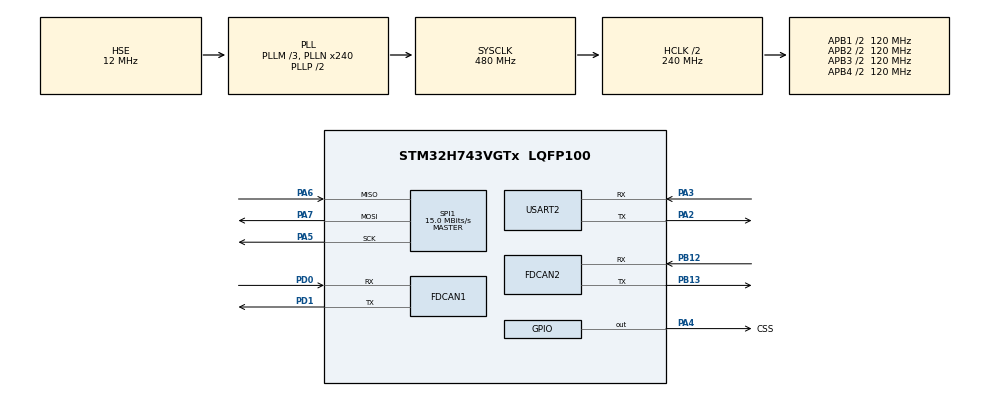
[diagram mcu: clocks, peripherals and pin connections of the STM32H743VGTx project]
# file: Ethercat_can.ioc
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CORTEX_M7.default_mode_Activation=1
FDCAN1.AutoRetransmission=ENABLE
FDCAN1.CalculateBaudRateNominal=999999
FDCAN1.CalculateTimeBitNominal=1000
FDCAN1.CalculateTimeQuantumNominal=66.66666666666667
FDCAN1.DataPrescaler=8
FDCAN1.DataTimeSeg1=10
FDCAN1.DataTimeSeg2=4
FDCAN1.NominalPrescaler=8
FDCAN1.NominalTimeSeg1=10
FDCAN1.NominalTimeSeg2=4
FDCAN1.RxFifo0ElmtsNbr=6
FDCAN1.TxFifoQueueElmtsNbr=6
FDCAN2.AutoRetransmission=ENABLE
FDCAN2.CalculateBaudRateNominal=999999
FDCAN2.CalculateTimeBitNominal=1000
FDCAN2.CalculateTimeQuantumNominal=66.66666666666667
FDCAN2.DataPrescaler=8
FDCAN2.DataSyncJumpWidth=1
FDCAN2.DataTimeSeg1=10
FDCAN2.DataTimeSeg2=4
FDCAN2.MessageRAMOffset=1024
FDCAN2.NominalPrescaler=8
FDCAN2.NominalTimeSeg1=10
FDCAN2.NominalTimeSeg2=4
FDCAN2.RxFifo0ElmtsNbr=6
FDCAN2.TxFifoQueueElmtsNbr=6
Mcu.Family=STM32H7
Mcu.Name=STM32H743VGTx
Mcu.Package=LQFP100
NVIC.PriorityGroup=NVIC_PRIORITYGROUP_4
NVIC.TIM5_IRQn=true\:0\:0\:false\:false\:true\:true\:true\:true
PA13\ (JTMS/SWDIO).Mode=Trace_Asynchronous_SW
PA13\ (JTMS/SWDIO).Signal=DEBUG_JTMS-SWDIO
PA14\ (JTCK/SWCLK).Mode=Trace_Asynchronous_SW
PA14\ (JTCK/SWCLK).Signal=DEBUG_JTCK-SWCLK
PA2.Mode=Asynchronous
PA2.Signal=USART2_TX
PA3.Mode=Asynchronous
PA3.Signal=USART2_RX
PA4.GPIO_Label=CSS
PA4.Signal=GPIO_Output
PA5.Mode=Full_Duplex_Master
PA5.Signal=SPI1_SCK
PA6.Mode=Full_Duplex_Master
PA6.Signal=SPI1_MISO
PA7.Mode=Full_Duplex_Master
PA7.Signal=SPI1_MOSI
PB12.Mode=FDCAN_Activate
PB12.Signal=FDCAN2_RX
PB13.Mode=FDCAN_Activate
PB13.Signal=FDCAN2_TX
PB3\ (JTDO/TRACESWO).Mode=Trace_Asynchronous_SW
PB3\ (JTDO/TRACESWO).Signal=DEBUG_JTDO-SWO
PD0.Mode=FDCAN_Activate
PD0.Signal=FDCAN1_RX
PD1.Mode=FDCAN_Activate
PD1.Signal=FDCAN1_TX
PH0-OSC_IN\ (PH0).Mode=HSE-External-Oscillator
PH0-OSC_IN\ (PH0).Signal=RCC_OSC_IN
PH1-OSC_OUT\ (PH1).Mode=HSE-External-Oscillator
PH1-OSC_OUT\ (PH1).Signal=RCC_OSC_OUT
ProjectManager.HeapSize=0x200
ProjectManager.StackSize=0x400
ProjectManager.TargetToolchain=STM32CubeIDE
RCC.ADCFreq_Value=24187500
RCC.APB1Freq_Value=120000000
RCC.APB2Freq_Value=120000000
RCC.APB3Freq_Value=120000000
RCC.APB4Freq_Value=120000000
RCC.CortexFreq_Value=480000000
RCC.D1PPRE=RCC_APB3_DIV2
RCC.D2PPRE1=RCC_APB1_DIV2
RCC.D2PPRE2=RCC_APB2_DIV2
RCC.D3PPRE=RCC_APB4_DIV2
RCC.DIVM1=3
RCC.DIVN1=240
RCC.DIVQ1=8
RCC.HCLKFreq_Value=240000000
RCC.HPRE=RCC_HCLK_DIV2
RCC.HSE_VALUE=12000000
RCC.PLLSourceVirtual=RCC_PLLSOURCE_HSE
RCC.ProductRev=revV
RCC.SYSCLKFreq_VALUE=480000000
RCC.SYSCLKSource=RCC_SYSCLKSOURCE_PLLCLK
RCC.USBFreq_Value=120000000
SPI1.BaudRatePrescaler=SPI_BAUDRATEPRESCALER_8
SPI1.CLKPhase=SPI_PHASE_2EDGE
SPI1.CLKPolarity=SPI_POLARITY_HIGH
SPI1.CalculateBaudRate=15.0 MBits/s
SPI1.DataSize=SPI_DATASIZE_8BIT
SPI1.Direction=SPI_DIRECTION_2LINES
SPI1.Mode=SPI_MODE_MASTER
SPI1.VirtualType=VM_MASTER
TIM2.Prescaler=239
TIM4.Prescaler=239
TIM5.Period=999
TIM5.Prescaler=239
USART2.VirtualMode-Asynchronous=VM_ASYNC
VP_TIM2_VS_ClockSourceINT.Mode=Internal
VP_TIM4_VS_ClockSourceINT.Mode=Internal
VP_TIM5_VS_ClockSourceINT.Mode=Internal
board=custom

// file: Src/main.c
/* USER CODE BEGIN Header */
/**
  ******************************************************************************
  * @file           : main.c
  * @brief          : Main program body
  ******************************************************************************
  * @attention
  *
  * Copyright (c) 2022 STMicroelectronics.
  * All rights reserved.
  *
  * This software is licensed under terms that can be found in the LICENSE file
  * in the root directory of this software component.
  * If no LICENSE file comes with this software, it is provided AS-IS.
  *
  ******************************************************************************
  */
/* USER CODE END Header */
#include "main.h"

/* USER CODE BEGIN Includes */
#include "Global_var.h"
#include "../lan9252/lan9252.h"
#include "Motor_Untilities.h"
/* USER CODE END Includes */

/* USER CODE BEGIN PD */
PROCBUFFER_OUT 	BufferOut;
PROCBUFFER_IN 	BufferIn;

spiCTX ethercat_slave;

/* USER CODE END PD */

FDCAN_HandleTypeDef hfdcan1;
FDCAN_HandleTypeDef hfdcan2;

SPI_HandleTypeDef hspi1;

TIM_HandleTypeDef htim2;
TIM_HandleTypeDef htim4;
TIM_HandleTypeDef htim5;

UART_HandleTypeDef huart2;

/* USER CODE BEGIN PV */

// joint 1-3 in can1
FDCAN_TxHeaderTypeDef joint_1;
FDCAN_TxHeaderTypeDef joint_2;
FDCAN_TxHeaderTypeDef joint_3;
// joint 4-6 in can2
FDCAN_TxHeaderTypeDef joint_4;
FDCAN_TxHeaderTypeDef joint_5;
FDCAN_TxHeaderTypeDef joint_6;
uint8_t tx_msg_buffer[8];

uint8_t joint_1_data[8];
uint8_t joint_2_data[8];
uint8_t joint_3_data[8];
uint8_t joint_4_data[8];
uint8_t joint_5_data[8];
uint8_t joint_6_data[8];

uint64_t joint_r_data[6];
uint64_t joint_static_pvt;

FDCAN_RxHeaderTypeDef rx_header;
uint8_t rx_data[8];

uint32_t can1_error_counter = 0;
uint32_t can2_error_counter = 0;
uint32_t can1_last_error_code = 0;
uint32_t can2_last_error_code = 0;

uint16_t control_word;
GPIO_PinState ES_state;
int is_init = 0;
int is_run = 0;
uint32_t init_counter = 0;

// for ethercat var
uint64_t hs_ = 0;
uint8_t error_hs_ = 0;
uint16_t motor_status_can = 0;
uint64_t pos_cnt[6] = { 0, 0, 0, 0, 0, 0 };
uint8_t startFlag=0;
double we[6] = { 1000.0, 8000.0, 8000.0, 8000.0, 8000.0, 8000.0 };
double pos_ref[6] = { 0.0, 0.0, 0.0, 0.0, 0.0, 0.0 };
double pos0[6] = { 0.0, 0.0, 0.0, 0.0, 0.0, 0.0 };

extern union Byte8 byte_8;
extern union Byte8 byte_8_reply;
extern union Byte8 byte_8_static;
extern union Byte2 byte_2_reply;
extern union Byte2u byte_2u_reply;
extern union Byte4 byte_4_reply;

extern struct motor_info MF_1;

float_t pos1 = 0;
float_t vel1 = 0;
float_t tor1 = 0;
float_t pos1_old=0;
float_t vel1_cal=0;

float_t pos2 = 0;
float_t vel2 = 0;
float_t tor2 = 0;
float_t pos3 = 0;
float_t vel3 = 0;
float_t tor3 = 0;
float_t pos4 = 0;
float_t vel4 = 0;
float_t tor4 = 0;
float_t pos1_ref = 0;
float_t vel1_ref = 0;
float_t tor1_ref = 0;
float_t pos_s = 0;
float_t pos_p1 = 0;
float_t pos_p2 = 0;

uint64_t pos_1_ref64 = 0;
uint64_t pos_2_ref64 = 0;
uint64_t pos_3_ref64 = 0;
uint64_t pos_4_ref64 = 0;
uint64_t pos_s_ref64 = 0;

float_t I1=0;
float_t pos1_pid=0;

uint64_t reply_hs[6];

float_t fir_par[3]={0.321582376956940,0.356835246086121,0.321582376956940};
float_t vel1_rec[3]={0};
float_t vel1_fil=0;
float_t TD_x1_old=0;
float_t TD_x1=0;
float_t TD_x2_old=0;
float_t TD_x2=0;
float_t TD_iniCount=4;
const float_t TD_r=700;
const float_t TD_h=0.001;

float_t mul_pos=0;
float_t sgl_pos=0;
float_t tor_pos=0;
float_t vel_cur=0;
float_t vel_cur_fil=0;

float_t vel_cal=0;

int64_t loop_1ms_count=0;

/* USER CODE END PV */

void SystemClock_Config(void);
static void MPU_Config(void);
static void MX_GPIO_Init(void);
static void MX_FDCAN1_Init(void);
static void MX_FDCAN2_Init(void);
static void MX_SPI1_Init(void);
static void MX_TIM2_Init(void);
static void MX_TIM4_Init(void);
static void MX_TIM5_Init(void);
static void MX_USART2_UART_Init(void);
/* USER CODE BEGIN PFP */
void send_to_all_slave();
void send_to_all_slave_sgl();
void send_to_all_slave_mul();
void send_to_all_slave_cur0();

void delay_us(uint16_t us)
{
	__HAL_TIM_SET_COUNTER(&htim4, 0);
	while (__HAL_TIM_GET_COUNTER(&htim4) < us) ;
}

void control()
{
	loop_1ms_count++;
	if (loop_1ms_count==6)
		loop_1ms_count=0;

	if (control_word==0)
			control_word=1;

	if (control_word == 1)
	{
		if (is_init == 0)   // init
		{
			if (init_counter < 2)
			{
				init_counter++;
			}
			else
			{
				init_counter = 0;
				is_init = 1;
			}
			motor_pos(&joint_1, joint_1_data, 0, (uint16_t)(60*10), 1);
			send_to_all_slave();
		}
		else  // get data
		{
			motor_pd_v2(&joint_1, joint_1_data, 50, 250, 1); // min: 50, 200
			send_to_all_slave();
			control_word=2;
		}

		is_run = 0;
	}
	else if (control_word == 2)  // parameter
	{
		if (is_run == 0)
		{
			is_run = 1;
		}
		else if (is_run == 1)
		{
			is_run = 2;
		}
		else
		{
			if (fabs(MF_1.out_Pos)<0.2 && (MF_1.out_Pos)!=0)
				MF_1.iniReady=1;

			float_t phi,pos_des;
			phi=2.0*3.14159265*pos_cnt[0]/ we[0];
			if (phi>=2*3.14159265)
				pos_cnt[0]=0;

			pos_des=20.0*sin(phi);

			if (MF_1.iniReady==1)
				{motor_pvt_v2(&joint_1, joint_1_data, pos_des, 0, 0, 1);pos_cnt[0]++;}
			else
				motor_get_sglPos(&joint_1, joint_1_data, 1);

			send_to_all_slave();

		}
		is_init = 0;
	}
	else if(control_word == 3)  // stop
	{
		motor_es(&joint_1, joint_1_data, 1);
		motor_es(&joint_2, joint_2_data, 2);
		motor_es(&joint_3, joint_3_data, 3);
		motor_es(&joint_4, joint_4_data, 4);

		motor_null(&joint_5, joint_5_data, 5);

		is_run = 0;
		send_to_all_slave();

		//HAL_GPIO_WritePin(GPIOA, ES_Pin, GPIO_PIN_SET);
	}
	else  // stop
	{
		//HAL_GPIO_WritePin(GPIOA, ES_Pin, GPIO_PIN_SET);
	}
}

void unpack_reply(FDCAN_RxHeaderTypeDef *pRxHeader, uint8_t *data)
{
	//TODO
	if (pRxHeader->DataLength == FDCAN_DLC_BYTES_8)
	{
		int id = pRxHeader->Identifier - 0x140;
		if (id > 0 && id < 7)
		{
			if (id > 0 && id < 5)
			{
				if (data[0] == 0xae)
				{
					for (size_t i = 0; i < 6; i++)
						byte_8_reply.buffer[i] = data[i + 2];
					byte_8_reply.buffer[6] = 0x00;
					byte_8_reply.buffer[7] = 0x00;
				}
			}
			else if (id == 5)
			{
				for (size_t i = 0; i < 8; i++)
					byte_8_reply.buffer[i] = data[i];
			}
			joint_r_data[id - 1] = byte_8_reply.udata;
			reply_hs[id - 1] = hs_;

			if (id == 1)
			{
				if (data[0]==0xAE)
				{
				motor_decode_pvt(data, &pos1, &vel1, &tor1);

				MF_1.out_Pos_Old=MF_1.out_Pos;
				MF_1.out_Pos=pos1;
				MF_1.out_Vel=vel1;
				MF_1.tor=tor1;
				vel_cal= (MF_1.out_Pos-MF_1.out_Pos_Old)/0.001;
				}

				if (data[0]==0x94)
				{

					float_t pos_tmp;
					motor_decode_sglPos(data, &pos_tmp);
					MF_1.out_Pos=pos_tmp/10;

				}
				if (data[0]==0x92)
				{
					float_t pos_tmp;
					motor_decode_mulPos(data, &pos_tmp);
					//pos_tmp=pos_tmp-floor(pos_tmp/360)*360; // round to 0-360
					MF_1.mul_pos=pos_tmp;
					if (MF_1.sgl_pos_old!=0 && MF_1.sgl_pos!=0 && MF_1.iniReady==0)
					{
						MF_1.pos_off=MF_1.mul_pos-MF_1.sgl_pos;
						MF_1.loopNum=0;
						MF_1.iniReady=1;
					}

					mul_pos=MF_1.mul_pos/10.0;

				}
				if (data[0]==0xa1)
				{
					float_t pos_tmp, vel_tmp, tor_tmp;
					motor_decode_cur(data, &pos_tmp, &vel_tmp, &tor_tmp);
					MF_1.sgl_pos_old=MF_1.sgl_pos;
					MF_1.sgl_pos=pos_tmp;
					MF_1.vel=vel_tmp;
					MF_1.tor=tor_tmp;
					MF_1.out_Vel=vel_tmp/10;

					if (MF_1.iniReady>0)
					{
						if (MF_1.sgl_pos-MF_1.sgl_pos_old<-300)
							MF_1.loopNum++;
						if (MF_1.sgl_pos-MF_1.sgl_pos_old>300)
							MF_1.loopNum--;

						pos_tmp=(MF_1.sgl_pos+MF_1.pos_off+MF_1.loopNum*360.)/MF_1.ratio;
						if (pos_tmp>180)
							pos_tmp-=360;

						MF_1.out_Pos=pos_tmp;
					}

					if (TD_iniCount==0)
					{
						TD_x1=TD_x1_old+TD_h*TD_x2_old;
						TD_x2=TD_x2_old-TD_h*(TD_r*TD_r*TD_x1_old+2*TD_r*TD_x2_old-TD_r*TD_r*MF_1.out_Pos);
						TD_x1_old=TD_x1;
						TD_x2_old=TD_x2;
					}
					else
					{
						TD_iniCount--;
						TD_x1_old=MF_1.out_Pos;
						TD_x2_old=MF_1.out_Vel;
						TD_x1=MF_1.out_Pos;
						TD_x2=MF_1.out_Vel;
					}

					MF_1.out_Vel_fil=TD_x2;

					tor_pos=MF_1.out_Pos;
					vel_cur=MF_1.out_Vel;
					vel_cur_fil=MF_1.out_Vel_fil;
				}

			}
			if (id == 2)
			{
				motor_decode_pvt(data, &pos2, &vel2, &tor2);
			}
			if (id == 3)
			{
				motor_decode_pvt(data, &pos3, &vel3, &tor3);
			}

			if (id == 4)
			{
				motor_decode_pvt(data, &pos4, &vel4, &tor4);
			}
			if (id == 5)
			{
				byte_2u_reply.buffer[0] = data[0];
				byte_2u_reply.buffer[1] = data[1];
				pos_p1 = (double_t)byte_2u_reply.udata / 65536 * 360.0;
				byte_2u_reply.buffer[0] = data[2];
				byte_2u_reply.buffer[1] = data[3];
				pos_p2 = (double_t)byte_2u_reply.udata / 65536 * 360.0;
				byte_4_reply.buffer[0] = data[4];
				byte_4_reply.buffer[1] = data[5];
				byte_4_reply.buffer[2] = data[6];
				byte_4_reply.buffer[3] = data[7];
				pos_s = (double_t)byte_4_reply.udata / 4096 * 360.0;
			}
		}
	}
}

/* USER CODE END PFP */

/* USER CODE BEGIN 0 */

#define cmd_null 0x0000

#define cmd_pas_enable  0x0001
#define cmd_pas_init    0x0002
#define cmd_pas_disable 0x0000

#define cmd_motor_pd  0x01af
#define cmd_motor_pvt 0x00ae
#define cmd_motor_read 0x00af
#define cmd_motor_es  0x0008

/* USER CODE END 0 */

int main(void)
{

  /* MPU Configuration--------------------------------------------------------*/
  MPU_Config();

  /* MCU Configuration--------------------------------------------------------*/

  /* Reset of all peripherals, Initializes the Flash interface and the Systick. */
  HAL_Init();

  /* Configure the system clock */
  SystemClock_Config();

  /* Initialize all configured peripherals */
  MX_GPIO_Init();
  MX_FDCAN1_Init();
  MX_FDCAN2_Init();
  MX_SPI1_Init();
  MX_TIM2_Init();
  MX_TIM4_Init();
  MX_TIM5_Init();
  MX_USART2_UART_Init();
  /* USER CODE BEGIN 2 */

	//1. init tx msg
	joint_1.Identifier = 0x1;
	joint_1.IdType = FDCAN_STANDARD_ID;
	joint_1.TxFrameType = FDCAN_DATA_FRAME;
	joint_1.DataLength = FDCAN_DLC_BYTES_8;
	joint_1.ErrorStateIndicator = FDCAN_ESI_ACTIVE;
	joint_1.BitRateSwitch = FDCAN_BRS_OFF;
	joint_1.FDFormat = FDCAN_CLASSIC_CAN;
	joint_1.TxEventFifoControl = FDCAN_NO_TX_EVENTS;
	joint_1.MessageMarker = 0;

	joint_2.Identifier = 0x2;
	joint_2.IdType = FDCAN_STANDARD_ID;
	joint_2.TxFrameType = FDCAN_DATA_FRAME;
	joint_2.DataLength = FDCAN_DLC_BYTES_8;
	joint_2.ErrorStateIndicator = FDCAN_ESI_ACTIVE;
	joint_2.BitRateSwitch = FDCAN_BRS_OFF;
	joint_2.FDFormat = FDCAN_CLASSIC_CAN;
	joint_2.TxEventFifoControl = FDCAN_NO_TX_EVENTS;
	joint_2.MessageMarker = 0;

	joint_3.Identifier = 0x3;
	joint_3.IdType = FDCAN_STANDARD_ID;
	joint_3.TxFrameType = FDCAN_DATA_FRAME;
	joint_3.DataLength = FDCAN_DLC_BYTES_8;
	joint_3.ErrorStateIndicator = FDCAN_ESI_ACTIVE;
	joint_3.BitRateSwitch = FDCAN_BRS_OFF;
	joint_3.FDFormat = FDCAN_CLASSIC_CAN;
	joint_3.TxEventFifoControl = FDCAN_NO_TX_EVENTS;
	joint_3.MessageMarker = 0;

	joint_4.Identifier = 0x4;
	joint_4.IdType = FDCAN_STANDARD_ID;
	joint_4.TxFrameType = FDCAN_DATA_FRAME;
	joint_4.DataLength = FDCAN_DLC_BYTES_8;
	joint_4.ErrorStateIndicator = FDCAN_ESI_ACTIVE;
	joint_4.BitRateSwitch = FDCAN_BRS_OFF;
	joint_4.FDFormat = FDCAN_CLASSIC_CAN;
	joint_4.TxEventFifoControl = FDCAN_NO_TX_EVENTS;
	joint_4.MessageMarker = 0;

	joint_5.Identifier = 0x5;
	joint_5.IdType = FDCAN_STANDARD_ID;
	joint_5.TxFrameType = FDCAN_DATA_FRAME;
	joint_5.DataLength = FDCAN_DLC_BYTES_8;
	joint_5.ErrorStateIndicator = FDCAN_ESI_ACTIVE;
	joint_5.BitRateSwitch = FDCAN_BRS_OFF;
	joint_5.FDFormat = FDCAN_CLASSIC_CAN;
	joint_5.TxEventFifoControl = FDCAN_NO_TX_EVENTS;
	joint_5.MessageMarker = 0;

	joint_6.Identifier = 0x6;
	joint_6.IdType = FDCAN_STANDARD_ID;
	joint_6.TxFrameType = FDCAN_DATA_FRAME;
	joint_6.DataLength = FDCAN_DLC_BYTES_8;
	joint_6.ErrorStateIndicator = FDCAN_ESI_ACTIVE;
	joint_6.BitRateSwitch = FDCAN_BRS_OFF;
	joint_6.FDFormat = FDCAN_CLASSIC_CAN;
	joint_6.TxEventFifoControl = FDCAN_NO_TX_EVENTS;
	joint_6.MessageMarker = 0;

	HAL_FDCAN_Start(&hfdcan1);
	HAL_FDCAN_Start(&hfdcan2);

	HAL_Delay(10);
	HAL_TIM_Base_Start(&htim2);
	HAL_TIM_Base_Start(&htim4);

	HAL_Delay(10);

	// 1. init lan9252
	ethercat_slave.spi = &hspi1;
	ethercat_slave.uart = &huart2;
	ethercat_slave.bIn = &BufferIn;
	ethercat_slave.bOut = &BufferOut;
	HAL_Delay(10);

	//init9252(&ethercat_slave); // change this !!!!!!!!!!!!!!

	HAL_Delay(100);

	HAL_TIM_Base_Start_IT(&htim5);

	HAL_Delay(100);

  /* USER CODE END 2 */

  /* Infinite loop */
  while (1)
  {

    /* USER CODE BEGIN 3 */
	  //while (HAL_FDCAN_GetRxFifoFillLevel(&hfdcan1, FDCAN_RX_FIFO0) > 0)
	  if (HAL_FDCAN_GetRxMessage(&hfdcan1, FDCAN_RX_FIFO0, &rx_header, rx_data) == HAL_OK)
	  {
		  unpack_reply(&rx_header, rx_data);
	  }
	  /*
	  if (HAL_FDCAN_GetRxMessage(&hfdcan2, FDCAN_RX_FIFO0, &rx_header, rx_data) == HAL_OK)
	  {
		  unpack_reply(&rx_header, rx_data);
	  }*/
	  delay_us(10);
  }
  /* USER CODE END 3 */
}

void SystemClock_Config(void)
{
  RCC_OscInitTypeDef RCC_OscInitStruct = {0};
  RCC_ClkInitTypeDef RCC_ClkInitStruct = {0};

  /** Supply configuration update enable
  */
  HAL_PWREx_ConfigSupply(PWR_LDO_SUPPLY);

  /** Configure the main internal regulator output voltage
  */
  __HAL_PWR_VOLTAGESCALING_CONFIG(PWR_REGULATOR_VOLTAGE_SCALE1);

  while(!__HAL_PWR_GET_FLAG(PWR_FLAG_VOSRDY)) {}

  __HAL_RCC_SYSCFG_CLK_ENABLE();
  __HAL_PWR_VOLTAGESCALING_CONFIG(PWR_REGULATOR_VOLTAGE_SCALE0);

  while(!__HAL_PWR_GET_FLAG(PWR_FLAG_VOSRDY)) {}

  /** Initializes the RCC Oscillators according to the specified parameters
  * in the RCC_OscInitTypeDef structure.
  */
  RCC_OscInitStruct.OscillatorType = RCC_OSCILLATORTYPE_HSE;
  RCC_OscInitStruct.HSEState = RCC_HSE_ON;
  RCC_OscInitStruct.PLL.PLLState = RCC_PLL_ON;
  RCC_OscInitStruct.PLL.PLLSource = RCC_PLLSOURCE_HSE;
  RCC_OscInitStruct.PLL.PLLM = 3;
  RCC_OscInitStruct.PLL.PLLN = 240;
  RCC_OscInitStruct.PLL.PLLP = 2;
  RCC_OscInitStruct.PLL.PLLQ = 8;
  RCC_OscInitStruct.PLL.PLLR = 2;
  RCC_OscInitStruct.PLL.PLLRGE = RCC_PLL1VCIRANGE_2;
  RCC_OscInitStruct.PLL.PLLVCOSEL = RCC_PLL1VCOWIDE;
  RCC_OscInitStruct.PLL.PLLFRACN = 0;
  if (HAL_RCC_OscConfig(&RCC_OscInitStruct) != HAL_OK)
  {
    Error_Handler();
  }

  /** Initializes the CPU, AHB and APB buses clocks
  */
  RCC_ClkInitStruct.ClockType = RCC_CLOCKTYPE_HCLK|RCC_CLOCKTYPE_SYSCLK
                              |RCC_CLOCKTYPE_PCLK1|RCC_CLOCKTYPE_PCLK2
                              |RCC_CLOCKTYPE_D3PCLK1|RCC_CLOCKTYPE_D1PCLK1;
  RCC_ClkInitStruct.SYSCLKSource = RCC_SYSCLKSOURCE_PLLCLK;
  RCC_ClkInitStruct.SYSCLKDivider = RCC_SYSCLK_DIV1;
  RCC_ClkInitStruct.AHBCLKDivider = RCC_HCLK_DIV2;
  RCC_ClkInitStruct.APB3CLKDivider = RCC_APB3_DIV2;
  RCC_ClkInitStruct.APB1CLKDivider = RCC_APB1_DIV2;
  RCC_ClkInitStruct.APB2CLKDivider = RCC_APB2_DIV2;
  RCC_ClkInitStruct.APB4CLKDivider = RCC_APB4_DIV2;

  if (HAL_RCC_ClockConfig(&RCC_ClkInitStruct, FLASH_LATENCY_4) != HAL_OK)
  {
    Error_Handler();
  }
}

static void MX_FDCAN1_Init(void)
{

  hfdcan1.Instance = FDCAN1;
  hfdcan1.Init.FrameFormat = FDCAN_FRAME_CLASSIC;
  hfdcan1.Init.Mode = FDCAN_MODE_NORMAL;
  hfdcan1.Init.AutoRetransmission = ENABLE;
  hfdcan1.Init.TransmitPause = DISABLE;
  hfdcan1.Init.ProtocolException = DISABLE;
  hfdcan1.Init.NominalPrescaler = 8;
  hfdcan1.Init.NominalSyncJumpWidth = 1;
  hfdcan1.Init.NominalTimeSeg1 = 10;
  hfdcan1.Init.NominalTimeSeg2 = 4;
  hfdcan1.Init.DataPrescaler = 8;
  hfdcan1.Init.DataSyncJumpWidth = 1;
  hfdcan1.Init.DataTimeSeg1 = 10;
  hfdcan1.Init.DataTimeSeg2 = 4;
  hfdcan1.Init.MessageRAMOffset = 0;
  hfdcan1.Init.StdFiltersNbr = 0;
  hfdcan1.Init.ExtFiltersNbr = 0;
  hfdcan1.Init.RxFifo0ElmtsNbr = 6;
  hfdcan1.Init.RxFifo0ElmtSize = FDCAN_DATA_BYTES_8;
  hfdcan1.Init.RxFifo1ElmtsNbr = 0;
  hfdcan1.Init.RxFifo1ElmtSize = FDCAN_DATA_BYTES_8;
  hfdcan1.Init.RxBuffersNbr = 0;
  hfdcan1.Init.RxBufferSize = FDCAN_DATA_BYTES_8;
  hfdcan1.Init.TxEventsNbr = 0;
  hfdcan1.Init.TxBuffersNbr = 0;
  hfdcan1.Init.TxFifoQueueElmtsNbr = 6;
  hfdcan1.Init.TxFifoQueueMode = FDCAN_TX_FIFO_OPERATION;
  hfdcan1.Init.TxElmtSize = FDCAN_DATA_BYTES_8;
  if (HAL_FDCAN_Init(&hfdcan1) != HAL_OK)
  {
    Error_Handler();
  }

}

static void MX_FDCAN2_Init(void)
{

  hfdcan2.Instance = FDCAN2;
  hfdcan2.Init.FrameFormat = FDCAN_FRAME_CLASSIC;
  hfdcan2.Init.Mode = FDCAN_MODE_NORMAL;
  hfdcan2.Init.AutoRetransmission = ENABLE;
  hfdcan2.Init.TransmitPause = DISABLE;
  hfdcan2.Init.ProtocolException = DISABLE;
  hfdcan2.Init.NominalPrescaler = 8;
  hfdcan2.Init.NominalSyncJumpWidth = 1;
  hfdcan2.Init.NominalTimeSeg1 = 10;
  hfdcan2.Init.NominalTimeSeg2 = 4;
  hfdcan2.Init.DataPrescaler = 8;
  hfdcan2.Init.DataSyncJumpWidth = 1;
  hfdcan2.Init.DataTimeSeg1 = 10;
  hfdcan2.Init.DataTimeSeg2 = 4;
  hfdcan2.Init.MessageRAMOffset = 1024;
  hfdcan2.Init.StdFiltersNbr = 0;
  hfdcan2.Init.ExtFiltersNbr = 0;
  hfdcan2.Init.RxFifo0ElmtsNbr = 6;
  hfdcan2.Init.RxFifo0ElmtSize = FDCAN_DATA_BYTES_8;
  hfdcan2.Init.RxFifo1ElmtsNbr = 0;
  hfdcan2.Init.RxFifo1ElmtSize = FDCAN_DATA_BYTES_8;
  hfdcan2.Init.RxBuffersNbr = 0;
  hfdcan2.Init.RxBufferSize = FDCAN_DATA_BYTES_8;
  hfdcan2.Init.TxEventsNbr = 0;
  hfdcan2.Init.TxBuffersNbr = 0;
  hfdcan2.Init.TxFifoQueueElmtsNbr = 6;
  hfdcan2.Init.TxFifoQueueMode = FDCAN_TX_FIFO_OPERATION;
  hfdcan2.Init.TxElmtSize = FDCAN_DATA_BYTES_8;
  if (HAL_FDCAN_Init(&hfdcan2) != HAL_OK)
  {
    Error_Handler();
  }

}

static void MX_SPI1_Init(void)
{

  /* SPI1 parameter configuration*/
  hspi1.Instance = SPI1;
  hspi1.Init.Mode = SPI_MODE_MASTER;
  hspi1.Init.Direction = SPI_DIRECTION_2LINES;
  hspi1.Init.DataSize = SPI_DATASIZE_8BIT;
  hspi1.Init.CLKPolarity = SPI_POLARITY_HIGH;
  hspi1.Init.CLKPhase = SPI_PHASE_2EDGE;
  hspi1.Init.NSS = SPI_NSS_SOFT;
  hspi1.Init.BaudRatePrescaler = SPI_BAUDRATEPRESCALER_8;
  hspi1.Init.FirstBit = SPI_FIRSTBIT_MSB;
  hspi1.Init.TIMode = SPI_TIMODE_DISABLE;
  hspi1.Init.CRCCalculation = SPI_CRCCALCULATION_DISABLE;
  hspi1.Init.CRCPolynomial = 0x0;
  hspi1.Init.NSSPMode = SPI_NSS_PULSE_ENABLE;
  hspi1.Init.NSSPolarity = SPI_NSS_POLARITY_LOW;
  hspi1.Init.FifoThreshold = SPI_FIFO_THRESHOLD_01DATA;
  hspi1.Init.TxCRCInitializationPattern = SPI_CRC_INITIALIZATION_ALL_ZERO_PATTERN;
  hspi1.Init.RxCRCInitializationPattern = SPI_CRC_INITIALIZATION_ALL_ZERO_PATTERN;
  hspi1.Init.MasterSSIdleness = SPI_MASTER_SS_IDLENESS_00CYCLE;
  hspi1.Init.MasterInterDataIdleness = SPI_MASTER_INTERDATA_IDLENESS_00CYCLE;
  hspi1.Init.MasterReceiverAutoSusp = SPI_MASTER_RX_AUTOSUSP_DISABLE;
  hspi1.Init.MasterKeepIOState = SPI_MASTER_KEEP_IO_STATE_DISABLE;
  hspi1.Init.IOSwap = SPI_IO_SWAP_DISABLE;
  if (HAL_SPI_Init(&hspi1) != HAL_OK)
  {
    Error_Handler();
  }

}

static void MX_TIM2_Init(void)
{

  TIM_ClockConfigTypeDef sClockSourceConfig = {0};
  TIM_MasterConfigTypeDef sMasterConfig = {0};

  htim2.Instance = TIM2;
  htim2.Init.Prescaler = 239;
  htim2.Init.CounterMode = TIM_COUNTERMODE_UP;
  htim2.Init.Period = 4294967295;
  htim2.Init.ClockDivision = TIM_CLOCKDIVISION_DIV1;
  htim2.Init.AutoReloadPreload = TIM_AUTORELOAD_PRELOAD_DISABLE;
  if (HAL_TIM_Base_Init(&htim2) != HAL_OK)
  {
    Error_Handler();
  }
  sClockSourceConfig.ClockSource = TIM_CLOCKSOURCE_INTERNAL;
  if (HAL_TIM_ConfigClockSource(&htim2, &sClockSourceConfig) != HAL_OK)
  {
    Error_Handler();
  }
  sMasterConfig.MasterOutputTrigger = TIM_TRGO_RESET;
  sMasterConfig.MasterSlaveMode = TIM_MASTERSLAVEMODE_DISABLE;
  if (HAL_TIMEx_MasterConfigSynchronization(&htim2, &sMasterConfig) != HAL_OK)
  {
    Error_Handler();
  }

}

static void MX_TIM4_Init(void)
{

  TIM_ClockConfigTypeDef sClockSourceConfig = {0};
  TIM_MasterConfigTypeDef sMasterConfig = {0};

  htim4.Instance = TIM4;
  htim4.Init.Prescaler = 239;
  htim4.Init.CounterMode = TIM_COUNTERMODE_UP;
  htim4.Init.Period = 65535;
  htim4.Init.ClockDivision = TIM_CLOCKDIVISION_DIV1;
  htim4.Init.AutoReloadPreload = TIM_AUTORELOAD_PRELOAD_DISABLE;
  if (HAL_TIM_Base_Init(&htim4) != HAL_OK)
  {
    Error_Handler();
  }
  sClockSourceConfig.ClockSource = TIM_CLOCKSOURCE_INTERNAL;
  if (HAL_TIM_ConfigClockSource(&htim4, &sClockSourceConfig) != HAL_OK)
  {
    Error_Handler();
  }
  sMasterConfig.MasterOutputTrigger = TIM_TRGO_RESET;
  sMasterConfig.MasterSlaveMode = TIM_MASTERSLAVEMODE_DISABLE;
  if (HAL_TIMEx_MasterConfigSynchronization(&htim4, &sMasterConfig) != HAL_OK)
  {
    Error_Handler();
  }

}

static void MX_TIM5_Init(void)
{

  TIM_ClockConfigTypeDef sClockSourceConfig = {0};
  TIM_MasterConfigTypeDef sMasterConfig = {0};

  htim5.Instance = TIM5;
  htim5.Init.Prescaler = 239;
  htim5.Init.CounterMode = TIM_COUNTERMODE_UP;
  htim5.Init.Period = 999;
  htim5.Init.ClockDivision = TIM_CLOCKDIVISION_DIV1;
  htim5.Init.AutoReloadPreload = TIM_AUTORELOAD_PRELOAD_DISABLE;
  if (HAL_TIM_Base_Init(&htim5) != HAL_OK)
  {
    Error_Handler();
  }
  sClockSourceConfig.ClockSource = TIM_CLOCKSOURCE_INTERNAL;
  if (HAL_TIM_ConfigClockSource(&htim5, &sClockSourceConfig) != HAL_OK)
  {
    Error_Handler();
  }
  sMasterConfig.MasterOutputTrigger = TIM_TRGO_RESET;
  sMasterConfig.MasterSlaveMode = TIM_MASTERSLAVEMODE_DISABLE;
  if (HAL_TIMEx_MasterConfigSynchronization(&htim5, &sMasterConfig) != HAL_OK)
  {
    Error_Handler();
  }

}

static void MX_USART2_UART_Init(void)
{

  huart2.Instance = USART2;
  huart2.Init.BaudRate = 115200;
  huart2.Init.WordLength = UART_WORDLENGTH_8B;
  huart2.Init.StopBits = UART_STOPBITS_1;
  huart2.Init.Parity = UART_PARITY_NONE;
  huart2.Init.Mode = UART_MODE_TX_RX;
  huart2.Init.HwFlowCtl = UART_HWCONTROL_NONE;
  huart2.Init.OverSampling = UART_OVERSAMPLING_16;
  huart2.Init.OneBitSampling = UART_ONE_BIT_SAMPLE_DISABLE;
  huart2.Init.ClockPrescaler = UART_PRESCALER_DIV1;
  huart2.AdvancedInit.AdvFeatureInit = UART_ADVFEATURE_NO_INIT;
  if (HAL_UART_Init(&huart2) != HAL_OK)
  {
    Error_Handler();
  }
  if (HAL_UARTEx_SetTxFifoThreshold(&huart2, UART_TXFIFO_THRESHOLD_1_8) != HAL_OK)
  {
    Error_Handler();
  }
  if (HAL_UARTEx_SetRxFifoThreshold(&huart2, UART_RXFIFO_THRESHOLD_1_8) != HAL_OK)
  {
    Error_Handler();
  }
  if (HAL_UARTEx_DisableFifoMode(&huart2) != HAL_OK)
  {
    Error_Handler();
  }

}

static void MX_GPIO_Init(void)
{
  GPIO_InitTypeDef GPIO_InitStruct = {0};

  /* GPIO Ports Clock Enable */
  __HAL_RCC_GPIOH_CLK_ENABLE();
  __HAL_RCC_GPIOA_CLK_ENABLE();
  __HAL_RCC_GPIOB_CLK_ENABLE();
  __HAL_RCC_GPIOD_CLK_ENABLE();

  /*Configure GPIO pin Output Level */
  HAL_GPIO_WritePin(CSS_GPIO_Port, CSS_Pin, GPIO_PIN_RESET);

  /*Configure GPIO pin : CSS_Pin */
  GPIO_InitStruct.Pin = CSS_Pin;
  GPIO_InitStruct.Mode = GPIO_MODE_OUTPUT_PP;
  GPIO_InitStruct.Pull = GPIO_NOPULL;
  GPIO_InitStruct.Speed = GPIO_SPEED_FREQ_LOW;
  HAL_GPIO_Init(CSS_GPIO_Port, &GPIO_InitStruct);

}

/* USER CODE BEGIN 4 */

//int is_enable = 0;
//int motor_init_state = 0;

void send_to_all_slave()
{
/*	while (HAL_FDCAN_GetRxFifoFillLevel(&hfdcan1, FDCAN_RX_FIFO0) != 0)
		if (HAL_FDCAN_GetRxMessage(&hfdcan1, FDCAN_RX_FIFO0, &rx_header, rx_data) == HAL_OK)
		{
			unpack_reply(&rx_header, rx_data);

		}*/
	if (HAL_FDCAN_AddMessageToTxFifoQ(&hfdcan1, &joint_1, joint_1_data) != HAL_OK)
	{
		can1_error_counter += 1;
	}

/*
	if (HAL_FDCAN_AddMessageToTxFifoQ(&hfdcan1, &joint_2, joint_2_data) != HAL_OK)
	{
		can1_error_counter += 1;
	}

	if (HAL_FDCAN_AddMessageToTxFifoQ(&hfdcan1, &joint_3, joint_3_data) != HAL_OK)
	{
		can1_error_counter += 1;
	}
	//uint32_t tmp = 0;
	//while (tmp<3) tmp=HAL_FDCAN_GetTxFifoFreeLevel(&hfdcan1);

	if (HAL_FDCAN_AddMessageToTxFifoQ(&hfdcan2, &joint_5, joint_5_data) != HAL_OK)
	{
		can2_error_counter += 1;
	}
//	while (HAL_FDCAN_GetRxFifoFillLevel(&hfdcan2, FDCAN_RX_FIFO0) == 0) ;
//	if (HAL_FDCAN_GetRxMessage(&hfdcan2, FDCAN_RX_FIFO0, &rx_header, rx_data) == HAL_OK)
//	{
//		unpack_reply(&rx_header, rx_data);
//
//	}

	if (HAL_FDCAN_AddMessageToTxFifoQ(&hfdcan2, &joint_4, joint_4_data) != HAL_OK)
	{
		can2_error_counter += 1;
	}
//	while (HAL_FDCAN_GetRxFifoFillLevel(&hfdcan2, FDCAN_RX_FIFO0) == 0) ;
//	if (HAL_FDCAN_GetRxMessage(&hfdcan2, FDCAN_RX_FIFO0, &rx_header, rx_data) == HAL_OK)
//	{
//		unpack_reply(&rx_header, rx_data);
//
//	}

//	if (HAL_FDCAN_AddMessageToTxFifoQ(&hfdcan2, &joint_6, joint_6_data) != HAL_OK)
//	{
//		can2_error_counter += 1;
//	}*/

}
void send_to_all_slave_sgl()
{
	motor_get_sglPos(&joint_1, joint_1_data, 1);
	if (HAL_FDCAN_AddMessageToTxFifoQ(&hfdcan1, &joint_1, joint_1_data) != HAL_OK)
	{
		can1_error_counter += 1;
	}

}

void send_to_all_slave_mul()
{
	motor_get_mulPos(&joint_1, joint_1_data, 1);
	if (HAL_FDCAN_AddMessageToTxFifoQ(&hfdcan1, &joint_1, joint_1_data) != HAL_OK)
	{
		can1_error_counter += 1;
	}
}

void send_to_all_slave_cur0()
{
	motor_current(&joint_1, joint_1_data, 0, 1);
	if (HAL_FDCAN_AddMessageToTxFifoQ(&hfdcan1, &joint_1, joint_1_data) != HAL_OK)
	{
		can1_error_counter += 1;
	}
}
void pack_motor_data()
{
	byte_8.udata = BufferOut.Cust.motor_1;
	for (size_t i = 0; i < 8; i++)
	{
		joint_1_data[i] = byte_8.buffer[i];
	}

	byte_8.udata = BufferOut.Cust.motor_2;
	for (size_t i = 0; i < 8; i++)
	{
		joint_2_data[i] = byte_8.buffer[i];
	}

	byte_8.udata = BufferOut.Cust.motor_3;
	for (size_t i = 0; i < 8; i++)
	{
		joint_3_data[i] = byte_8.buffer[i];
	}

	byte_8.udata = BufferOut.Cust.motor_4;
	for (size_t i = 0; i < 8; i++)
	{
		joint_4_data[i] = byte_8.buffer[i];
	}

	byte_8.udata = BufferOut.Cust.motor_5;
	for (size_t i = 0; i < 8; i++)
	{
		joint_5_data[i] = byte_8.buffer[i];
	}

	byte_8.udata = BufferOut.Cust.motor_6;
	for (size_t i = 0; i < 8; i++)
	{
		joint_6_data[i] = byte_8.buffer[i];
	}
}

uint16_t get_motor_status()
{
	int motor_msg[6];

	uint16_t motor_status_ = 0;

	for (size_t i = 0; i < 6; i++)
	{
		if ((reply_hs[i] + 10) < hs_)
		{
			motor_msg[i] = 0;
		}
		else
		{
			motor_msg[i] = 1;
		}
		motor_status_ |= 1 << i;
	}
	return motor_status_;
}

void pack_ethercat_data()
{
	BufferIn.Cust.hs = hs_;

	BufferIn.Cust.motor_1 = joint_r_data[0];
	BufferIn.Cust.motor_2 = joint_r_data[1];
	BufferIn.Cust.motor_3 = joint_r_data[2];
	BufferIn.Cust.motor_4 = joint_r_data[3];
	BufferIn.Cust.motor_5 = joint_r_data[4];
	BufferIn.Cust.motor_6 = joint_r_data[5];

	BufferIn.Cust.can1_error_log = can1_error_counter;
	BufferIn.Cust.can2_error_log = can2_error_counter;

	BufferIn.Cust.rec_error_can1 = (uint16_t)can1_last_error_code;
	BufferIn.Cust.rec_error_can2 = (uint16_t)can2_last_error_code;

	//error protect
	motor_status_can = get_motor_status();
	BufferIn.Cust.motor_status = motor_status_can;

}

void HAL_TIM_PeriodElapsedCallback(TIM_HandleTypeDef *htim)
{
	if (htim->Instance == TIM5)
	{
		//pack_ethercat_data();                // change this !!!!!!!!!!!
		//main_task(&ethercat_slave);          // change this !!!!!!!!!!!!

		uint64_t tmp_hs_ = 1;//BufferOut.Cust.hs; // change this !!!!!!!!!!!!!

		// 1. control
		if (tmp_hs_ > hs_ || tmp_hs_ == 1)
		{
			//control_word = BufferOut.Cust.control_word; // and commit this !!!!!!!!!!!!
			control();
			hs_ = tmp_hs_;
		}
		else
		{
			error_hs_++;
			if (error_hs_ == 20 || motor_status_can != 0x00)
			{
				motor_es(&joint_1, joint_1_data, 1);
				motor_es(&joint_2, joint_2_data, 2);
				motor_es(&joint_3, joint_3_data, 3);
				motor_es(&joint_4, joint_4_data, 4);
				motor_es(&joint_5, joint_5_data, 5);
				motor_es(&joint_6, joint_6_data, 6);
				send_to_all_slave();
			}
		}

		// error check
		can1_last_error_code = READ_REG(hfdcan1.Instance->PSR);
		can1_last_error_code = can1_last_error_code & 0x0007;

		can2_last_error_code = READ_REG(hfdcan2.Instance->PSR);
		can2_last_error_code = can2_last_error_code & 0x0007;

		FDCAN_ErrorCountersTypeDef ErrorCounters;
		uint8_t error_counter1;
		uint8_t error_counter2;
		uint8_t error_counter3;
		uint8_t error_counter4;
		HAL_FDCAN_GetErrorCounters(&hfdcan1, &ErrorCounters);
		error_counter1 = (uint8_t)ErrorCounters.RxErrorCnt;
		error_counter2 = (uint8_t)ErrorCounters.TxErrorCnt;

		can1_error_counter += error_counter1;
		can1_error_counter += error_counter2;

		HAL_FDCAN_GetErrorCounters(&hfdcan2, &ErrorCounters);
		error_counter3 = (uint8_t)ErrorCounters.RxErrorCnt;
		error_counter4 = (uint8_t)ErrorCounters.TxErrorCnt;

		can2_error_counter += error_counter3;
		can2_error_counter += error_counter4;
		//HAL_GPIO_TogglePin(GPIOA, ES_Pin);
	}
}

/* USER CODE END 4 */

/* MPU Configuration */

void MPU_Config(void)
{
  MPU_Region_InitTypeDef MPU_InitStruct = {0};

  /* Disables the MPU */
  HAL_MPU_Disable();

  /** Initializes and configures the Region and the memory to be protected
  */
  MPU_InitStruct.Enable = MPU_REGION_ENABLE;
  MPU_InitStruct.Number = MPU_REGION_NUMBER0;
  MPU_InitStruct.BaseAddress = 0x0;
  MPU_InitStruct.Size = MPU_REGION_SIZE_4GB;
  MPU_InitStruct.SubRegionDisable = 0x87;
  MPU_InitStruct.TypeExtField = MPU_TEX_LEVEL0;
  MPU_InitStruct.AccessPermission = MPU_REGION_NO_ACCESS;
  MPU_InitStruct.DisableExec = MPU_INSTRUCTION_ACCESS_DISABLE;
  MPU_InitStruct.IsShareable = MPU_ACCESS_SHAREABLE;
  MPU_InitStruct.IsCacheable = MPU_ACCESS_NOT_CACHEABLE;
  MPU_InitStruct.IsBufferable = MPU_ACCESS_NOT_BUFFERABLE;

  HAL_MPU_ConfigRegion(&MPU_InitStruct);
  /* Enables the MPU */
  HAL_MPU_Enable(MPU_PRIVILEGED_DEFAULT);

}

void Error_Handler(void)
{
  __disable_irq();
  while (1)
  {
  }
}
